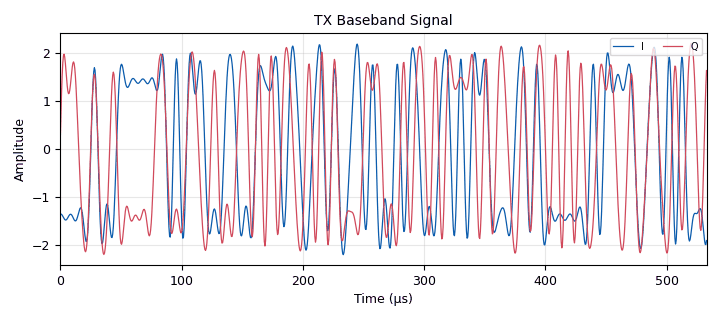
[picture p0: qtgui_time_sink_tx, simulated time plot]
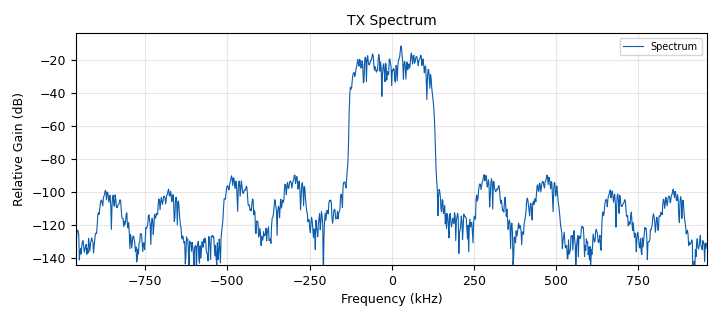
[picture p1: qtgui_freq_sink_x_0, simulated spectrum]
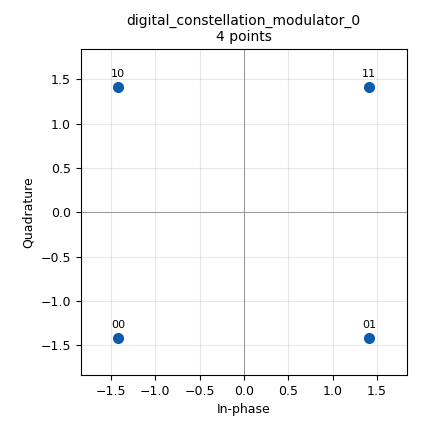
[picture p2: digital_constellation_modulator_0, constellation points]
options:
  parameters:
    author: Shubham Gupta, Himanshu Kumar
    comment: Real SDR transmitter for intrusion detection setup (no simulation)
    copyright: '2026'
    description: QPSK TX for over-the-air transmission using USRP hardware
    generate_options: qt_gui
    id: transmitter
    output_language: python
    title: SDR Intrusion Detection - Transmitter (Real Hardware)
  states: {}

blocks:
- name: samp_rate
  id: variable
  parameters:
    comment: Matches USRP B210 practical rate
    value: '1920000'
  states: {}
- name: center_freq
  id: variable
  parameters:
    comment: ISM band center frequency
    value: '2400000000'
  states: {}
- name: sps
  id: variable
  parameters:
    comment: Samples per symbol
    value: '10'
  states: {}
- name: excess_bw
  id: variable
  parameters:
    comment: Root raised cosine roll-off
    value: '0.35'
  states: {}
- name: tx_gain
  id: variable_qtgui_range
  parameters:
    comment: Hardware TX gain
    gui_hint: 0,0,1,1
    label: TX Gain
    orient: qtgui.HORIZONTAL
    start: '0'
    step: '1'
    stop: '80'
    value: '35'
  states: {}
- name: analog_random_source_0
  id: analog_random_source_x
  parameters:
    comment: Random bytes for QPSK modulation
    max: '256'
    min: '0'
    num_samps: '1000'
    repeat: 'True'
    type: byte
  states: {}
- name: digital_constellation_modulator_0
  id: digital_constellation_modulator
  parameters:
    comment: QPSK baseband waveform
    constellation: digital.constellation_qpsk().base()
    differential: 'False'
    excess_bw: excess_bw
    samples_per_symbol: sps
  states: {}
- name: qtgui_time_sink_tx
  id: qtgui_time_sink_x
  parameters:
    autoscale: 'True'
    grid: 'True'
    gui_hint: 1,0,1,1
    label1: I
    label2: Q
    name: '"TX Baseband Signal"'
    size: '1024'
    srate: samp_rate
    type: complex
    ymax: '2'
    ymin: '-2'
  states: {}
- name: qtgui_freq_sink_x_0
  id: qtgui_freq_sink_x
  parameters:
    autoscale: 'True'
    bw: samp_rate
    fc: '0'
    fftsize: '1024'
    grid: 'True'
    gui_hint: 2,0,1,1
    label1: Spectrum
    name: '"TX Spectrum"'
    type: complex
    ymin: '-80'
  states: {}
- name: uhd_usrp_sink_0
  id: uhd_usrp_sink
  parameters:
    ant0: '"TX/RX"'
    center_freq0: center_freq
    comment: Over-the-air transmitter
    dev_args: '""'
    gain0: tx_gain
    samp_rate: samp_rate
    sd_spec0: '""'
    stream_args: '""'
    sync: pc_clock
    type: fc32
  states: {}

connections:
- [analog_random_source_0, '0', digital_constellation_modulator_0, '0']
- [digital_constellation_modulator_0, '0', qtgui_time_sink_tx, '0']
- [digital_constellation_modulator_0, '0', qtgui_freq_sink_x_0, '0']
- [digital_constellation_modulator_0, '0', uhd_usrp_sink_0, '0']

metadata:
  file_format: 1
  grc_version: 3.10.12.0
